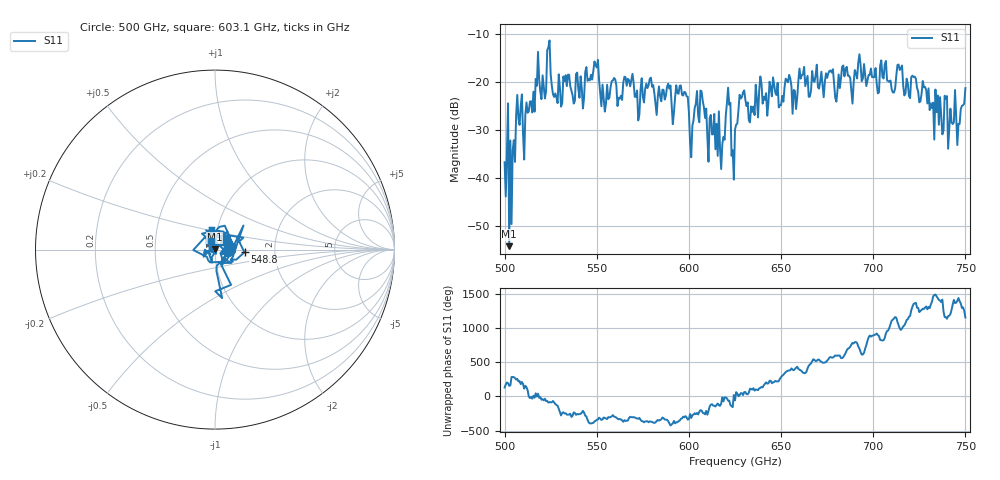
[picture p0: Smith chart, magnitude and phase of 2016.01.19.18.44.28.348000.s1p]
!Created with skrf (http://scikit-rf.org).
# GHz S RI R 50.0
!freq ReS11 ImS11
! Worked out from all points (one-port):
!   401 points, 500 GHz to 750 GHz, reference 50 ohm
!   lowest |S11| = -54.3 dB at 502.5 GHz (marker M1), VSWR 1.00, Z = 49.8 + j0.0796 ohm
!   |S11| at or under -10 dB: start of sweep to end of sweep
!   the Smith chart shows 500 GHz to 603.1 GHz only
!   S11 on the Smith chart (normalised r, x): 500 GHz: 0.98, +0.02; 548.8 GHz: 1.39, -0.04; 603.1 GHz: 0.95, +0.09
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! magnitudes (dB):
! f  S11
! 500 GHz  -36.7
! 502.5 GHz  -54.3
! 503.8 GHz  -49.6
! 508.1 GHz  -28.9
! 511.2 GHz  -26.8
! 523.8 GHz  -12.7
! 527.5 GHz  -22.3
! 531.2 GHz  -24.4
! 548.8 GHz  -15.6
! 553.8 GHz  -23.4
! 562.5 GHz  -23.4
! 593.8 GHz  -22.3
! 598.1 GHz  -22.2
! 601.2 GHz  -35.7
! 603.1 GHz  -25.4
! 618.1 GHz  -32.9
! 621.2 GHz  -21.1
! 625 GHz  -29.9
! 628.8 GHz  -23.1
! 633.8 GHz  -25.1
! 656.2 GHz  -26.6
! 687.5 GHz  -19.1
! 705.6 GHz  -19.2
! 710.6 GHz  -22.1
! 714.4 GHz  -17.4
! 718.8 GHz  -20.2
! 741.9 GHz  -25.5
! 750 GHz  -21.2
